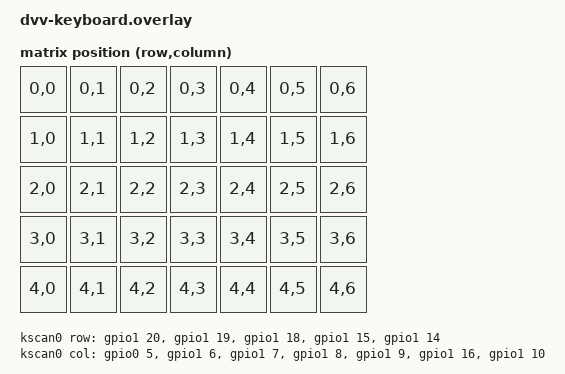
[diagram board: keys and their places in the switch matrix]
/ {
   this_node_does_not_exist: node {  // Намеренная ошибка
        incompatible = "zmk,invalid";
    };
    chosen {
        zmk,kscan = &kscan0;
        zmk,matrix-transform = &default_transform;
    };

    kscan0: kscan {
        compatible = "zmk,kscan-gpio-matrix";
        diode-direction = "row2col";
        
        // 5 рядов
        row-gpios = <&gpio1 20 GPIO_ACTIVE_HIGH>,
                    <&gpio1 19 GPIO_ACTIVE_HIGH>,
                    <&gpio1 18 GPIO_ACTIVE_HIGH>,
                    <&gpio1 15 GPIO_ACTIVE_HIGH>,
                    <&gpio1 14 GPIO_ACTIVE_HIGH>;

        // 7 столбцов
        col-gpios = <&gpio0 5 GPIO_ACTIVE_HIGH>,
                    <&gpio1 6 GPIO_ACTIVE_HIGH>,
                    <&gpio1 7 GPIO_ACTIVE_HIGH>,
                    <&gpio1 8 GPIO_ACTIVE_HIGH>,
                    <&gpio1 9 GPIO_ACTIVE_HIGH>,
                    <&gpio1 16 GPIO_ACTIVE_HIGH>,
                    <&gpio1 10 GPIO_ACTIVE_HIGH>;
    };

    default_transform: matrix_transform {
        compatible = "zmk,matrix-transform";
        rows = <5>;
        columns = <7>;
        map = <
            RC(0,0) RC(0,1) RC(0,2) RC(0,3) RC(0,4) RC(0,5) RC(0,6)
            RC(1,0) RC(1,1) RC(1,2) RC(1,3) RC(1,4) RC(1,5) RC(1,6)
            RC(2,0) RC(2,1) RC(2,2) RC(2,3) RC(2,4) RC(2,5) RC(2,6)
            RC(3,0) RC(3,1) RC(3,2) RC(3,3) RC(3,4) RC(3,5) RC(3,6)
            RC(4,0) RC(4,1) RC(4,2) RC(4,3) RC(4,4) RC(4,5) RC(4,6)
        >;
    };
};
